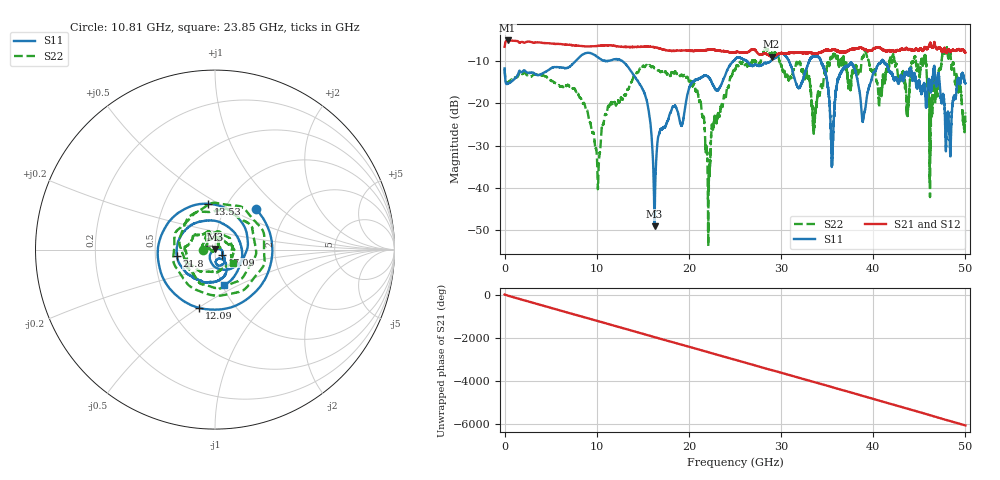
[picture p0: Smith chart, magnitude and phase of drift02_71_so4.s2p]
!Created with skrf (http://scikit-rf.org).
# Hz S RI R 50.0
!freq ReS11 ImS11 ReS21 ImS21 ReS12 ImS12 ReS22 ImS22
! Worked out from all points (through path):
!   10001 points, 300 kHz to 50 GHz, reference 50 ohm
!   highest |S21| = -5.04 dB at 325.3 MHz (marker M1); lowest = -8.9 dB at 28.98 GHz (marker M2)
!   group delay of S21, straight-line fit = 336 ps
!   lowest |S11| = -49.1 dB at 16.27 GHz (marker M3), VSWR 1.01, Z = 49.9 + j0.34 ohm
!   |S11| at or under -10 dB: start of sweep to 7.668 GHz; 12.82 GHz to 24.78 GHz (11.96 GHz wide, 63.6 % of centre); 41.14 GHz to end of sweep (the widest 3 of 14)
!   |S22| runs from -53.9 to -6.7 dB; largest |S21 - S12| = 0.029
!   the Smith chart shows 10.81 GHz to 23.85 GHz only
!   S11 on the Smith chart (normalised r, x): 10.81 GHz: 1.38, +0.70; 12.09 GHz: 0.69, -0.51; 13.53 GHz: 0.82, +0.45; 17.09 GHz: 1.08, -0.06; 21.8 GHz: 0.65, -0.05; 23.85 GHz: 1.02, -0.42
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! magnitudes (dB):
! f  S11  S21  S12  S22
! 300 kHz  -11.7  -6.5  -6.5  -11.7
! 325.3 MHz  -15.3  -5.0  -5.0  -15.1
! 8.335 GHz  -8.6  -6.4  -6.4  -19.1
! 10.11 GHz  -9.0  -6.3  -6.3  -38.8
! 10.81 GHz  -9.8  -6.2  -6.2  -23.6
! 12.09 GHz  -9.4  -6.4  -6.4  -20.4
! 13.53 GHz  -11.8  -6.6  -6.6  -16.0
! 16.27 GHz  -49.1  -6.6  -6.6  -11.7
! 16.67 GHz  -27.9  -6.8  -6.8  -12.1
! 17.09 GHz  -26.1  -7.1  -7.1  -12.4
! 21.8 GHz  -13.4  -7.4  -7.3  -30.1
! 23.85 GHz  -13.8  -7.6  -7.6  -18.1
! 25 GHz  -9.5  -7.8  -7.8  -12.0
! 28.98 GHz  -9.8  -8.9  -8.8  -8.0
! 33.34 GHz  -9.0  -8.0  -8.0  -19.9
! 35.55 GHz  -31.6  -7.2  -7.2  -9.1
! 36.8 GHz  -11.7  -7.8  -7.7  -10.0
! 38.94 GHz  -23.4  -7.1  -7.0  -8.9
! 41.67 GHz  -11.9  -7.4  -7.5  -11.7
! 46.25 GHz  -17.4  -6.0  -6.0  -19.7
! 48.13 GHz  -22.1  -7.1  -7.1  -9.2
! 50 GHz  -15.2  -7.9  -7.9  -22.4
